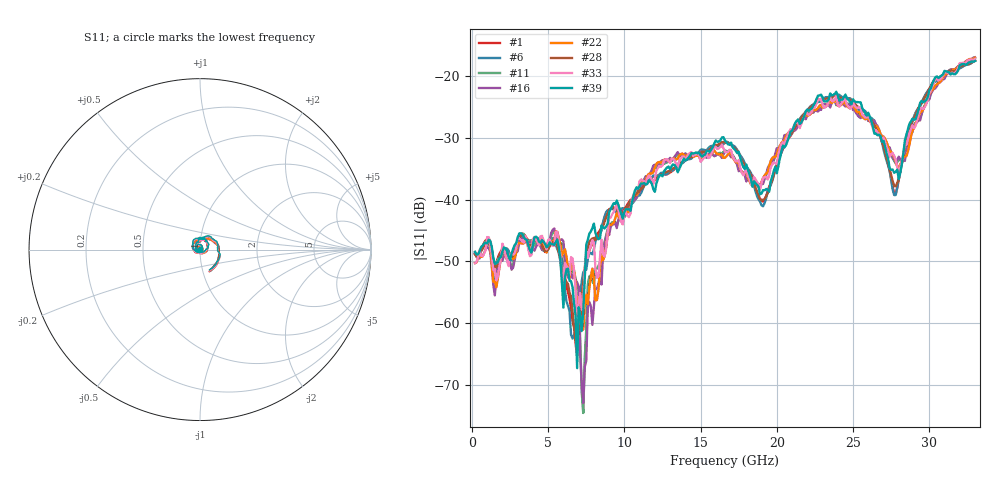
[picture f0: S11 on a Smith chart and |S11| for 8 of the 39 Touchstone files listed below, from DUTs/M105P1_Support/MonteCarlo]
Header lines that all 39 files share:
# GHZ S RI R 50
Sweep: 200 MHz to 33 GHz
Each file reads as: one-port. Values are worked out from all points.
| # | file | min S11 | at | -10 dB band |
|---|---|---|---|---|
| 1 | M105P1_1.s2p | -61.8 dB | 6.9 GHz | over 32.8 GHz wide |
| 2 | M105P1_2.s2p | -74.4 dB | 6.5 GHz | over 32.8 GHz wide |
| 3 | M105P1_4.s2p | -64.4 dB | 7.2 GHz | over 32.8 GHz wide |
| 4 | M105P1_5.s2p | -75.7 dB | 7.1 GHz | over 32.8 GHz wide |
| 5 | M105P1_10.s2p | -66.7 dB | 6.8 GHz | over 32.8 GHz wide |
| 6 | M105P1_11.s2p | -62.5 dB | 6.6 GHz | over 32.8 GHz wide |
| 7 | M105P1_12.s2p | -63.9 dB | 6.9 GHz | over 32.8 GHz wide |
| 8 | M105P1_15.s2p | -65.7 dB | 5.9 GHz | over 32.8 GHz wide |
| 9 | M105P1_20.s2p | -65.3 dB | 6.5 GHz | over 32.8 GHz wide |
| 10 | M105P1_21.s2p | -64.0 dB | 7.6 GHz | over 32.8 GHz wide |
| 11 | M105P1_23.s2p | -74.5 dB | 7.3 GHz | over 32.8 GHz wide |
| 12 | M105P1_28.s2p | -62.6 dB | 7.3 GHz | over 32.8 GHz wide |
| 13 | M105P1_30.s2p | -63.2 dB | 6.8 GHz | over 32.8 GHz wide |
| 14 | M105P1_34.s2p | -75.1 dB | 7.2 GHz | over 32.8 GHz wide |
| 15 | M105P1_37.s2p | -65.2 dB | 7.1 GHz | over 32.8 GHz wide |
| 16 | M105P1_39.s2p | -72.9 dB | 7.3 GHz | over 32.8 GHz wide |
| 17 | M105P1_43.s2p | -87.7 dB | 8.2 GHz | over 32.8 GHz wide |
| 18 | M105P1_46.s2p | -61.9 dB | 6.9 GHz | over 32.8 GHz wide |
| 19 | M105P1_48.s2p | -75.0 dB | 7.3 GHz | over 32.8 GHz wide |
| 20 | M105P1_49.s2p | -68.1 dB | 6.7 GHz | over 32.8 GHz wide |
| 21 | M105P1_52.s2p | -66.0 dB | 6.9 GHz | over 32.8 GHz wide |
| 22 | M105P1_55.s2p | -61.0 dB | 7.3 GHz | over 32.8 GHz wide |
| 23 | M105P1_59.s2p | -68.0 dB | 6.8 GHz | over 32.8 GHz wide |
| 24 | M105P1_60.s2p | -64.4 dB | 7.2 GHz | over 32.8 GHz wide |
| 25 | M105P1_61.s2p | -67.7 dB | 7.4 GHz | over 32.8 GHz wide |
| 26 | M105P1_63.s2p | -75.2 dB | 7.2 GHz | over 32.8 GHz wide |
| 27 | M105P1_64.s2p | -67.9 dB | 6.5 GHz | over 32.8 GHz wide |
| 28 | M105P1_68.s2p | -65.3 dB | 6.9 GHz | over 32.8 GHz wide |
| 29 | M105P1_71.s2p | -74.0 dB | 7.2 GHz | over 32.8 GHz wide |
| 30 | M105P1_72.s2p | -68.2 dB | 7.1 GHz | over 32.8 GHz wide |
| 31 | M105P1_73.s2p | -75.8 dB | 7.1 GHz | over 32.8 GHz wide |
| 32 | M105P1_74.s2p | -63.7 dB | 7 GHz | over 32.8 GHz wide |
| 33 | M105P1_81.s2p | -61.7 dB | 6.9 GHz | over 32.8 GHz wide |
| 34 | M105P1_82.s2p | -65.4 dB | 6.8 GHz | over 32.8 GHz wide |
| 35 | M105P1_83.s2p | -70.7 dB | 6.6 GHz | over 32.8 GHz wide |
| 36 | M105P1_85.s2p | -70.1 dB | 6.6 GHz | over 32.8 GHz wide |
| 37 | M105P1_86.s2p | -71.0 dB | 7.2 GHz | over 32.8 GHz wide |
| 38 | M105P1_89.s2p | -68.1 dB | 6.8 GHz | over 32.8 GHz wide |
| 39 | M105P1_94.s2p | -67.2 dB | 6.9 GHz | over 32.8 GHz wide |
